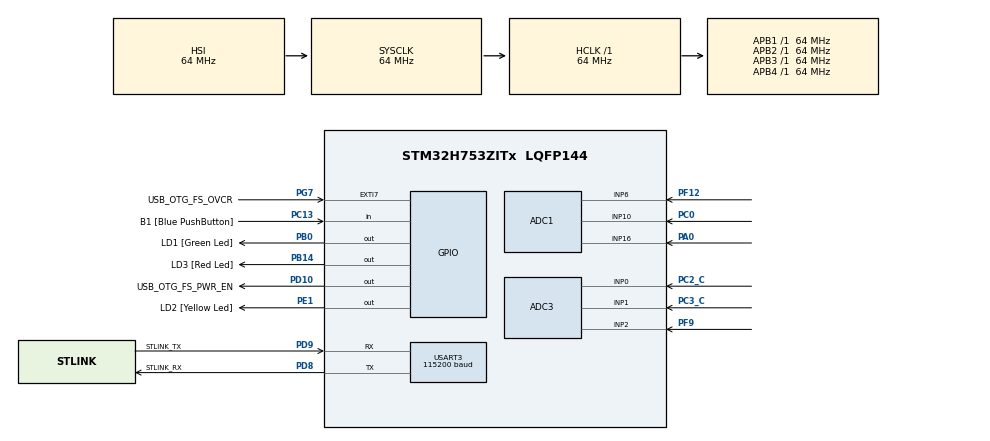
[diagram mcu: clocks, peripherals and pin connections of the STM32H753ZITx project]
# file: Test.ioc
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ADC1.Channel-4\#ChannelRegularConversion=ADC_CHANNEL_6
ADC1.ContinuousConvMode=ENABLE
ADC1.EnableAnalogWatchDog1=false
ADC1.NbrOfConversionFlag=1
ADC1.OffsetNumber-4\#ChannelRegularConversion=ADC_OFFSET_NONE
ADC1.OffsetSignedSaturation-4\#ChannelRegularConversion=DISABLE
ADC1.Rank-4\#ChannelRegularConversion=1
ADC1.SamplingTime-4\#ChannelRegularConversion=ADC_SAMPLETIME_1CYCLE_5
ADC1.master=1
ADC3.Channel-1\#ChannelRegularConversion=ADC_CHANNEL_0
ADC3.ContinuousConvMode=ENABLE
ADC3.NbrOfConversionFlag=1
ADC3.OffsetNumber-1\#ChannelRegularConversion=ADC_OFFSET_NONE
ADC3.OffsetSignedSaturation-1\#ChannelRegularConversion=DISABLE
ADC3.Rank-1\#ChannelRegularConversion=1
ADC3.SamplingTime-1\#ChannelRegularConversion=ADC_SAMPLETIME_1CYCLE_5
CORTEX_M7.CPU_DCache=Disabled
CORTEX_M7.CPU_ICache=Disabled
CORTEX_M7.MPU_Control=__NULL
Mcu.Family=STM32H7
Mcu.Name=STM32H753ZITx
Mcu.Package=LQFP144
NVIC.PriorityGroup=NVIC_PRIORITYGROUP_4
PA0.Mode=IN16-Single-Ended
PA0.Signal=ADC1_INP16
PA1.Signal=ETH_REF_CLK
PA11.Signal=USB_OTG_FS_DM
PA12.Signal=USB_OTG_FS_DP
PA2.Signal=ETH_MDIO
PA7.Signal=ETH_CRS_DV
PA8.Signal=USB_OTG_FS_SOF
PA9.Signal=USB_OTG_FS_VBUS
PB0.GPIO_Label=LD1 [Green Led]
PB0.Signal=GPIO_Output
PB13.Signal=ETH_TXD1
PB14.GPIO_Label=LD3 [Red Led]
PB14.Signal=GPIO_Output
PC0.Signal=SharedAnalog_PC0
PC13.GPIO_Label=B1 [Blue PushButton]
PC13.Signal=GPIO_Input
PC14-OSC32_IN\ (OSC32_IN).Mode=LSE-External-Oscillator
PC14-OSC32_IN\ (OSC32_IN).Signal=RCC_OSC32_IN
PC15-OSC32_OUT\ (OSC32_OUT).Mode=LSE-External-Oscillator
PC15-OSC32_OUT\ (OSC32_OUT).Signal=RCC_OSC32_OUT
PC2_C.Mode=IN0-Single-Ended
PC2_C.Signal=ADC3_INP0
PC3_C.Signal=SharedAnalog_PC3
PC4.Signal=ETH_RXD0
PC5.Signal=ETH_RXD1
PD10.GPIO_Label=USB_OTG_FS_PWR_EN
PD10.Signal=GPIO_Output
PD8.GPIO_Label=STLINK_RX
PD8.Mode=Asynchronous
PD8.Signal=USART3_TX
PD9.GPIO_Label=STLINK_TX
PD9.Mode=Asynchronous
PD9.Signal=USART3_RX
PE1.GPIO_Label=LD2 [Yellow Led]
PE1.Signal=GPIO_Output
PF12.Mode=IN6-Single-Ended
PF12.Signal=ADC1_INP6
PF9.Mode=IN2-Single-Ended
PF9.Signal=ADC3_INP2
PG11.Signal=ETH_TX_EN
PG13.Signal=ETH_TXD0
PG7.GPIO_Label=USB_OTG_FS_OVCR
PG7.Signal=GPXTI7
ProjectManager.HeapSize=0x200
ProjectManager.StackSize=0x400
ProjectManager.TargetToolchain=STM32CubeIDE
RCC.ADCFreq_Value=75000000
RCC.APB1Freq_Value=64000000
RCC.APB2Freq_Value=64000000
RCC.APB3Freq_Value=64000000
RCC.APB4Freq_Value=64000000
RCC.CortexFreq_Value=64000000
RCC.DIVM1=1
RCC.DIVM2=4
RCC.DIVN1=24
RCC.DIVN2=9
RCC.DIVQ1=4
RCC.HCLKFreq_Value=64000000
RCC.HSE_VALUE=8000000
RCC.PLL2FRACN=3072
RCC.PLLFRACN=0
RCC.PWR_Regulator_Voltage_Scale=PWR_REGULATOR_VOLTAGE_SCALE2
RCC.SYSCLKFreq_VALUE=64000000
RCC.USBFreq_Value=384000000
SH.SharedAnalog_PC0.0=GPIO_Analog
SH.SharedAnalog_PC0.1=ADC1_INP10,IN10-Single-Ended
SH.SharedAnalog_PC3.0=GPIO_Analog
SH.SharedAnalog_PC3.1=ADC3_INP1,IN1-Single-Ended
USART3.AutoBaudRateEnableParam=UART_ADVFEATURE_AUTOBAUDRATE_DISABLE
USART3.BaudRate=115200
USART3.ClockPrescaler=PRESCALER_DIV1
USART3.DMADisableonRxErrorParam=ADVFEATURE_DMA_ENABLEONRXERROR
USART3.DataInvertParam=ADVFEATURE_DATAINV_DISABLE
USART3.FIFOMode=FIFOMODE_DISABLE
USART3.MSBFirstParam=ADVFEATURE_MSBFIRST_DISABLE
USART3.Mode=MODE_TX_RX
USART3.OneBitSampling=UART_ONE_BIT_SAMPLE_DISABLE
USART3.OverSampling=UART_OVERSAMPLING_16
USART3.OverrunDisableParam=ADVFEATURE_OVERRUN_ENABLE
USART3.Parity=PARITY_NONE
USART3.RXFIFOThreshold=RXFIFO_THRESHOLD_1EIGHTHFULL
USART3.RxPinLevelInvertParam=ADVFEATURE_RXINV_DISABLE
USART3.StopBits=STOPBITS_1
USART3.SwapParam=ADVFEATURE_SWAP_DISABLE
USART3.TXFIFOThreshold=TXFIFO_THRESHOLD_1EIGHTHFULL
USART3.TxPinLevelInvertParam=ADVFEATURE_TXINV_DISABLE
USART3.VirtualMode-Asynchronous=VM_ASYNC
USART3.WordLength=WORDLENGTH_8B
board=NUCLEO-H753ZI

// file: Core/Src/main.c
/* USER CODE BEGIN Header */
/**
  ******************************************************************************
  * @file           : main.c
  * @brief          : Main program body
  ******************************************************************************
  * @attention
  *
  * Copyright (c) 2024 STMicroelectronics.
  * All rights reserved.
  *
  * This software is licensed under terms that can be found in the LICENSE file
  * in the root directory of this software component.
  * If no LICENSE file comes with this software, it is provided AS-IS.
  *
  ******************************************************************************
  */
/* USER CODE END Header */
#include "main.h"

/* USER CODE BEGIN Includes */
#include <string.h>
#include <stdio.h>
#include <stdint.h>

/* USER CODE END Includes */

ADC_HandleTypeDef hadc1;
ADC_HandleTypeDef hadc3;

UART_HandleTypeDef huart3;

/* USER CODE BEGIN PV */

uint32_t _ch;
uint32_t _ch2;
//char adcX[50];
struct Value v;
struct ValueY vy;
ADC_ChannelConfTypeDef ch = {0};
ADC_ChannelConfTypeDef ch2 = {0};

/* USER CODE END PV */

void SystemClock_Config(void);
void PeriphCommonClock_Config(void);
static void MX_GPIO_Init(void);
static void MX_USART3_UART_Init(void);
static void MX_ADC1_Init(void);
static void MX_ADC3_Init(void);
/* USER CODE BEGIN PFP */
//void GetValue();

//int movingAvg(int *p, long *ptrsum, int pos, int len, int nextNum);

/* USER CODE END PFP */

int main(void)
{

  /* MCU Configuration--------------------------------------------------------*/

  /* Reset of all peripherals, Initializes the Flash interface and the Systick. */
  HAL_Init();

  /* Configure the system clock */
  SystemClock_Config();

/* Configure the peripherals common clocks */
  PeriphCommonClock_Config();

  /* Initialize all configured peripherals */
  MX_GPIO_Init();
  MX_USART3_UART_Init();
  MX_ADC1_Init();
  MX_ADC3_Init();

  /* Infinite loop */
  /* USER CODE BEGIN WHILE */
  while (1)
  {
	  	 GetValue(v, _ch);
	  	 GetYvalue(vy, _ch2);

  }
  /* USER CODE END 3 */
}

void SystemClock_Config(void)
{
  RCC_OscInitTypeDef RCC_OscInitStruct = {0};
  RCC_ClkInitTypeDef RCC_ClkInitStruct = {0};

  /** Supply configuration update enable
  */
  HAL_PWREx_ConfigSupply(PWR_LDO_SUPPLY);

  /** Configure the main internal regulator output voltage
  */
  __HAL_PWR_VOLTAGESCALING_CONFIG(PWR_REGULATOR_VOLTAGE_SCALE2);

  while(!__HAL_PWR_GET_FLAG(PWR_FLAG_VOSRDY)) {}

  /** Macro to configure the PLL clock source
  */
  __HAL_RCC_PLL_PLLSOURCE_CONFIG(RCC_PLLSOURCE_HSI);

  /** Initializes the RCC Oscillators according to the specified parameters
  * in the RCC_OscInitTypeDef structure.
  */
  RCC_OscInitStruct.OscillatorType = RCC_OSCILLATORTYPE_HSI;
  RCC_OscInitStruct.HSIState = RCC_HSI_DIV1;
  RCC_OscInitStruct.HSICalibrationValue = RCC_HSICALIBRATION_DEFAULT;
  RCC_OscInitStruct.PLL.PLLState = RCC_PLL_NONE;
  if (HAL_RCC_OscConfig(&RCC_OscInitStruct) != HAL_OK)
  {
    Error_Handler();
  }

  /** Initializes the CPU, AHB and APB buses clocks
  */
  RCC_ClkInitStruct.ClockType = RCC_CLOCKTYPE_HCLK|RCC_CLOCKTYPE_SYSCLK
                              |RCC_CLOCKTYPE_PCLK1|RCC_CLOCKTYPE_PCLK2
                              |RCC_CLOCKTYPE_D3PCLK1|RCC_CLOCKTYPE_D1PCLK1;
  RCC_ClkInitStruct.SYSCLKSource = RCC_SYSCLKSOURCE_HSI;
  RCC_ClkInitStruct.SYSCLKDivider = RCC_SYSCLK_DIV1;
  RCC_ClkInitStruct.AHBCLKDivider = RCC_HCLK_DIV1;
  RCC_ClkInitStruct.APB3CLKDivider = RCC_APB3_DIV1;
  RCC_ClkInitStruct.APB1CLKDivider = RCC_APB1_DIV1;
  RCC_ClkInitStruct.APB2CLKDivider = RCC_APB2_DIV1;
  RCC_ClkInitStruct.APB4CLKDivider = RCC_APB4_DIV1;

  if (HAL_RCC_ClockConfig(&RCC_ClkInitStruct, FLASH_LATENCY_1) != HAL_OK)
  {
    Error_Handler();
  }
}

void PeriphCommonClock_Config(void)
{
  RCC_PeriphCLKInitTypeDef PeriphClkInitStruct = {0};

  /** Initializes the peripherals clock
  */
  PeriphClkInitStruct.PeriphClockSelection = RCC_PERIPHCLK_ADC;
  PeriphClkInitStruct.PLL2.PLL2M = 4;
  PeriphClkInitStruct.PLL2.PLL2N = 9;
  PeriphClkInitStruct.PLL2.PLL2P = 2;
  PeriphClkInitStruct.PLL2.PLL2Q = 2;
  PeriphClkInitStruct.PLL2.PLL2R = 2;
  PeriphClkInitStruct.PLL2.PLL2RGE = RCC_PLL2VCIRANGE_3;
  PeriphClkInitStruct.PLL2.PLL2VCOSEL = RCC_PLL2VCOMEDIUM;
  PeriphClkInitStruct.PLL2.PLL2FRACN = 3072;
  PeriphClkInitStruct.AdcClockSelection = RCC_ADCCLKSOURCE_PLL2;
  if (HAL_RCCEx_PeriphCLKConfig(&PeriphClkInitStruct) != HAL_OK)
  {
    Error_Handler();
  }
}

static void MX_ADC1_Init(void)
{

  ADC_MultiModeTypeDef multimode = {0};
  ADC_ChannelConfTypeDef sConfig = {0};

  /** Common config
  */
  hadc1.Instance = ADC1;
  hadc1.Init.ClockPrescaler = ADC_CLOCK_ASYNC_DIV2;
  hadc1.Init.Resolution = ADC_RESOLUTION_16B;
  hadc1.Init.ScanConvMode = ADC_SCAN_DISABLE;
  hadc1.Init.EOCSelection = ADC_EOC_SINGLE_CONV;
  hadc1.Init.LowPowerAutoWait = DISABLE;
  hadc1.Init.ContinuousConvMode = ENABLE;
  hadc1.Init.NbrOfConversion = 1;
  hadc1.Init.DiscontinuousConvMode = DISABLE;
  hadc1.Init.ExternalTrigConv = ADC_SOFTWARE_START;
  hadc1.Init.ExternalTrigConvEdge = ADC_EXTERNALTRIGCONVEDGE_NONE;
  hadc1.Init.ConversionDataManagement = ADC_CONVERSIONDATA_DR;
  hadc1.Init.Overrun = ADC_OVR_DATA_PRESERVED;
  hadc1.Init.LeftBitShift = ADC_LEFTBITSHIFT_NONE;
  hadc1.Init.OversamplingMode = DISABLE;
  if (HAL_ADC_Init(&hadc1) != HAL_OK)
  {
    Error_Handler();
  }

  /** Configure the ADC multi-mode
  */
  multimode.Mode = ADC_MODE_INDEPENDENT;
  if (HAL_ADCEx_MultiModeConfigChannel(&hadc1, &multimode) != HAL_OK)
  {
    Error_Handler();
  }

  /** Configure Regular Channel
  */
  sConfig.Channel = ADC_CHANNEL_6;
  sConfig.Rank = ADC_REGULAR_RANK_1;
  sConfig.SamplingTime = ADC_SAMPLETIME_1CYCLE_5;
  sConfig.SingleDiff = ADC_SINGLE_ENDED;
  sConfig.OffsetNumber = ADC_OFFSET_NONE;
  sConfig.Offset = 0;
  sConfig.OffsetSignedSaturation = DISABLE;
  if (HAL_ADC_ConfigChannel(&hadc1, &sConfig) != HAL_OK)
  {
    Error_Handler();
  }

}

static void MX_ADC3_Init(void)
{

  ADC_ChannelConfTypeDef sConfig = {0};

  /** Common config
  */
  hadc3.Instance = ADC3;
  hadc3.Init.Resolution = ADC_RESOLUTION_16B;
  hadc3.Init.ScanConvMode = ADC_SCAN_DISABLE;
  hadc3.Init.EOCSelection = ADC_EOC_SINGLE_CONV;
  hadc3.Init.LowPowerAutoWait = DISABLE;
  hadc3.Init.ContinuousConvMode = ENABLE;
  hadc3.Init.NbrOfConversion = 1;
  hadc3.Init.DiscontinuousConvMode = DISABLE;
  hadc3.Init.ExternalTrigConv = ADC_SOFTWARE_START;
  hadc3.Init.ExternalTrigConvEdge = ADC_EXTERNALTRIGCONVEDGE_NONE;
  hadc3.Init.ConversionDataManagement = ADC_CONVERSIONDATA_DR;
  hadc3.Init.Overrun = ADC_OVR_DATA_PRESERVED;
  hadc3.Init.LeftBitShift = ADC_LEFTBITSHIFT_NONE;
  hadc3.Init.OversamplingMode = DISABLE;
  if (HAL_ADC_Init(&hadc3) != HAL_OK)
  {
    Error_Handler();
  }

  /** Configure Regular Channel
  */
  sConfig.Channel = ADC_CHANNEL_0;
  sConfig.Rank = ADC_REGULAR_RANK_1;
  sConfig.SamplingTime = ADC_SAMPLETIME_1CYCLE_5;
  sConfig.SingleDiff = ADC_SINGLE_ENDED;
  sConfig.OffsetNumber = ADC_OFFSET_NONE;
  sConfig.Offset = 0;
  sConfig.OffsetSignedSaturation = DISABLE;
  if (HAL_ADC_ConfigChannel(&hadc3, &sConfig) != HAL_OK)
  {
    Error_Handler();
  }

}

static void MX_USART3_UART_Init(void)
{

  huart3.Instance = USART3;
  huart3.Init.BaudRate = 115200;
  huart3.Init.WordLength = UART_WORDLENGTH_8B;
  huart3.Init.StopBits = UART_STOPBITS_1;
  huart3.Init.Parity = UART_PARITY_NONE;
  huart3.Init.Mode = UART_MODE_TX_RX;
  huart3.Init.HwFlowCtl = UART_HWCONTROL_NONE;
  huart3.Init.OverSampling = UART_OVERSAMPLING_16;
  huart3.Init.OneBitSampling = UART_ONE_BIT_SAMPLE_DISABLE;
  huart3.Init.ClockPrescaler = UART_PRESCALER_DIV1;
  huart3.AdvancedInit.AdvFeatureInit = UART_ADVFEATURE_NO_INIT;
  if (HAL_UART_Init(&huart3) != HAL_OK)
  {
    Error_Handler();
  }
  if (HAL_UARTEx_SetTxFifoThreshold(&huart3, UART_TXFIFO_THRESHOLD_1_8) != HAL_OK)
  {
    Error_Handler();
  }
  if (HAL_UARTEx_SetRxFifoThreshold(&huart3, UART_RXFIFO_THRESHOLD_1_8) != HAL_OK)
  {
    Error_Handler();
  }
  if (HAL_UARTEx_DisableFifoMode(&huart3) != HAL_OK)
  {
    Error_Handler();
  }

}

static void MX_GPIO_Init(void)
{
  GPIO_InitTypeDef GPIO_InitStruct = {0};

  /* GPIO Ports Clock Enable */
  __HAL_RCC_GPIOC_CLK_ENABLE();
  __HAL_RCC_GPIOF_CLK_ENABLE();
  __HAL_RCC_GPIOA_CLK_ENABLE();
  __HAL_RCC_GPIOB_CLK_ENABLE();
  __HAL_RCC_GPIOD_CLK_ENABLE();
  __HAL_RCC_GPIOG_CLK_ENABLE();
  __HAL_RCC_GPIOE_CLK_ENABLE();

  /*Configure GPIO pin Output Level */
  HAL_GPIO_WritePin(GPIOB, LD1_Pin|LD3_Pin, GPIO_PIN_RESET);

  /*Configure GPIO pin Output Level */
  HAL_GPIO_WritePin(USB_OTG_FS_PWR_EN_GPIO_Port, USB_OTG_FS_PWR_EN_Pin, GPIO_PIN_RESET);

  /*Configure GPIO pin Output Level */
  HAL_GPIO_WritePin(LD2_GPIO_Port, LD2_Pin, GPIO_PIN_RESET);

  /*Configure GPIO pin : B1_Pin */
  GPIO_InitStruct.Pin = B1_Pin;
  GPIO_InitStruct.Mode = GPIO_MODE_INPUT;
  GPIO_InitStruct.Pull = GPIO_NOPULL;
  HAL_GPIO_Init(B1_GPIO_Port, &GPIO_InitStruct);

  /*Configure GPIO pins : PA1 PA2 PA7 */
  GPIO_InitStruct.Pin = GPIO_PIN_1|GPIO_PIN_2|GPIO_PIN_7;
  GPIO_InitStruct.Mode = GPIO_MODE_AF_PP;
  GPIO_InitStruct.Pull = GPIO_NOPULL;
  GPIO_InitStruct.Speed = GPIO_SPEED_FREQ_LOW;
  GPIO_InitStruct.Alternate = GPIO_AF11_ETH;
  HAL_GPIO_Init(GPIOA, &GPIO_InitStruct);

  /*Configure GPIO pins : PC4 PC5 */
  GPIO_InitStruct.Pin = GPIO_PIN_4|GPIO_PIN_5;
  GPIO_InitStruct.Mode = GPIO_MODE_AF_PP;
  GPIO_InitStruct.Pull = GPIO_NOPULL;
  GPIO_InitStruct.Speed = GPIO_SPEED_FREQ_LOW;
  GPIO_InitStruct.Alternate = GPIO_AF11_ETH;
  HAL_GPIO_Init(GPIOC, &GPIO_InitStruct);

  /*Configure GPIO pins : LD1_Pin LD3_Pin */
  GPIO_InitStruct.Pin = LD1_Pin|LD3_Pin;
  GPIO_InitStruct.Mode = GPIO_MODE_OUTPUT_PP;
  GPIO_InitStruct.Pull = GPIO_NOPULL;
  GPIO_InitStruct.Speed = GPIO_SPEED_FREQ_LOW;
  HAL_GPIO_Init(GPIOB, &GPIO_InitStruct);

  /*Configure GPIO pin : PB13 */
  GPIO_InitStruct.Pin = GPIO_PIN_13;
  GPIO_InitStruct.Mode = GPIO_MODE_AF_PP;
  GPIO_InitStruct.Pull = GPIO_NOPULL;
  GPIO_InitStruct.Speed = GPIO_SPEED_FREQ_LOW;
  GPIO_InitStruct.Alternate = GPIO_AF11_ETH;
  HAL_GPIO_Init(GPIOB, &GPIO_InitStruct);

  /*Configure GPIO pin : USB_OTG_FS_PWR_EN_Pin */
  GPIO_InitStruct.Pin = USB_OTG_FS_PWR_EN_Pin;
  GPIO_InitStruct.Mode = GPIO_MODE_OUTPUT_PP;
  GPIO_InitStruct.Pull = GPIO_NOPULL;
  GPIO_InitStruct.Speed = GPIO_SPEED_FREQ_LOW;
  HAL_GPIO_Init(USB_OTG_FS_PWR_EN_GPIO_Port, &GPIO_InitStruct);

  /*Configure GPIO pin : USB_OTG_FS_OVCR_Pin */
  GPIO_InitStruct.Pin = USB_OTG_FS_OVCR_Pin;
  GPIO_InitStruct.Mode = GPIO_MODE_IT_RISING;
  GPIO_InitStruct.Pull = GPIO_NOPULL;
  HAL_GPIO_Init(USB_OTG_FS_OVCR_GPIO_Port, &GPIO_InitStruct);

  /*Configure GPIO pins : PA8 PA11 PA12 */
  GPIO_InitStruct.Pin = GPIO_PIN_8|GPIO_PIN_11|GPIO_PIN_12;
  GPIO_InitStruct.Mode = GPIO_MODE_AF_PP;
  GPIO_InitStruct.Pull = GPIO_NOPULL;
  GPIO_InitStruct.Speed = GPIO_SPEED_FREQ_LOW;
  GPIO_InitStruct.Alternate = GPIO_AF10_OTG1_FS;
  HAL_GPIO_Init(GPIOA, &GPIO_InitStruct);

  /*Configure GPIO pins : PG11 PG13 */
  GPIO_InitStruct.Pin = GPIO_PIN_11|GPIO_PIN_13;
  GPIO_InitStruct.Mode = GPIO_MODE_AF_PP;
  GPIO_InitStruct.Pull = GPIO_NOPULL;
  GPIO_InitStruct.Speed = GPIO_SPEED_FREQ_LOW;
  GPIO_InitStruct.Alternate = GPIO_AF11_ETH;
  HAL_GPIO_Init(GPIOG, &GPIO_InitStruct);

  /*Configure GPIO pin : LD2_Pin */
  GPIO_InitStruct.Pin = LD2_Pin;
  GPIO_InitStruct.Mode = GPIO_MODE_OUTPUT_PP;
  GPIO_InitStruct.Pull = GPIO_NOPULL;
  GPIO_InitStruct.Speed = GPIO_SPEED_FREQ_LOW;
  HAL_GPIO_Init(LD2_GPIO_Port, &GPIO_InitStruct);

}

/* USER CODE BEGIN 4 */

void GetValue(struct Value v, uint32_t _ch)
{
	HAL_ADCEx_Calibration_Start(&hadc3, _ch, ADC_SINGLE_ENDED); //kalibracija ADC-a

	for(int i = 0; i < 6 ; i++)
	{
		//HAL_ADCEx_Calibration_Start(&hadc3,ADC_SINGLE_ENDED);

		ch.Channel = _ch;
		ch.Rank = ADC_CHANNEL_0_NUMBER;
		HAL_ADC_ConfigChannel(&hadc3, &ch);
		HAL_ADC_Start(&hadc3); //kreni sa citanjem na podensenom ADC kanalu
		HAL_ADC_PollForConversion(&hadc3, 1000);
		v.adcX[i] = HAL_ADC_GetValue(&hadc3); //ocitanu vrijednost spremi u polje adcX
		HAL_ADC_Stop(&hadc3); //zaustavi citanje ADC-a
		ch.Rank = ADC_REGULAR_RANK_1;
		HAL_ADC_ConfigChannel(&hadc3, &ch);

	}
	 for(int i = 0; i < 6; i++)
	 {

		 v.len = sniprintf(v.buffervrij, sizeof(v.buffervrij), "Vrijednost X %d\n\r ", v.adcX[i]);
		 HAL_UART_Transmit(&huart3, (uint8_t *)v.buffervrij, v.len, 1000); //posalji ocitanu vrijednost na UART
	 }

	 v.NewAvrg = 0;
	 v.pos = 0; //pocetna pozicija u arrNum
	 //v.NewAvrg; = 0; //newArg je izracunati moving average od uzetog niza brojeva
	 v.sum = 0; //suma je u pocetku jednaka 0, jer jos nista nismo zbrojili
	 v.lenMoving_Average = sizeof(v.arrNum)/ sizeof(int);
	 v.count = sizeof(v.adcX) / sizeof(int);

	 for(int i = 0; i < v.count; i++)
	 {

		 v.NewAvrg= movingAvg(v.arrNum, &v.sum, v.pos, v.lenMoving_Average, v.adcX[i]);
		 v.lenMoving_Average = sniprintf(v.moving_avg_buff, sizeof(v.moving_avg_buff), "Novi moving average za X je  %d ", v.NewAvrg);
		 HAL_UART_Transmit(&huart3, (uint8_t *)v.moving_avg_buff, v.lenMoving_Average, 1000);
		 v.pos++;
		 if(v.pos >= v.lenMoving_Average)
		 {
			 v.pos = 0;
		 }

	 }
	 HAL_Delay(1000);

}

void GetYvalue(struct ValueY vy, uint32_t ch2)
{

	HAL_ADCEx_Calibration_Start(&hadc1, ch2, ADC_SINGLE_ENDED);
	for( int i = 0; i < 6; i++)
	{
		ch.Channel = ch2;
		ch.Rank = ADC_CHANNEL_6_NUMBER;
		HAL_ADC_ConfigChannel(&hadc1, &ch);
		//HAL_ADC_ConfigChannel(&hadc3, &ch2);
		HAL_ADC_Start(&hadc1); //Y OS
		HAL_ADC_PollForConversion(&hadc1, 1000);
		vy.adcY[i] = HAL_ADC_GetValue(&hadc1);
		HAL_ADC_Stop(&hadc1);
		ch.Rank = ADC_REGULAR_RANK_1;
		HAL_ADC_ConfigChannel(&hadc1, &ch);
	}

	for(int i = 0; i < 6; i++)
	{
		vy.leny = sprintf(vy.buffer , "Vrijednost Y je : %d\n\r ", vy.adcY[i]);
		HAL_UART_Transmit(&huart3, (uint8_t *)vy.buffer, vy.leny, 1000);
	}

	vy.sumY = 0;
	vy.pos = 0;
	vy.NewAvrgY = 0;
	vy.lenMoving_AverageY = sizeof(vy.arrNumY)/sizeof(int);
	vy.countY = sizeof(vy.adcY)/sizeof(int);

	for(int i = 0; i < 6; i++)
	{
		vy.NewAvrgY = movingAvg(vy.arrNumY, &vy.sumY , vy.pos, vy.lenMoving_AverageY, vy.adcY[i]);
		vy.lenMoving_AverageY = sniprintf(vy.moving_avg_buffY, sizeof(vy.moving_avg_buffY), "Novi moving average za Y je %d ", vy.NewAvrgY);
		HAL_UART_Transmit(&huart3, (uint8_t *)vy.moving_avg_buffY,  vy.lenMoving_AverageY, 1000);
		vy.pos++;
		if(vy.pos >= vy.lenMoving_AverageY)
		{
			vy.pos = 0;
		}
	}

	 HAL_Delay(1000);
}

int movingAvg(int *p, long *ptrsum, int pos, int len, int nextNum)
{
	*ptrsum = *ptrsum - p[pos] + nextNum; //na ovaj nacin oduzimam najstariji broj od prethodnog zbroja niza, nakon oduzimanja dodam novi broj
	p[pos] = nextNum; //dodajem trenutnoj poziciji novi broj

	return *ptrsum/len; //vraca izracunati prosjek
}
/* USER CODE END 4 */

void Error_Handler(void)
{
  __disable_irq();
  while (1)
  {
  }
}
